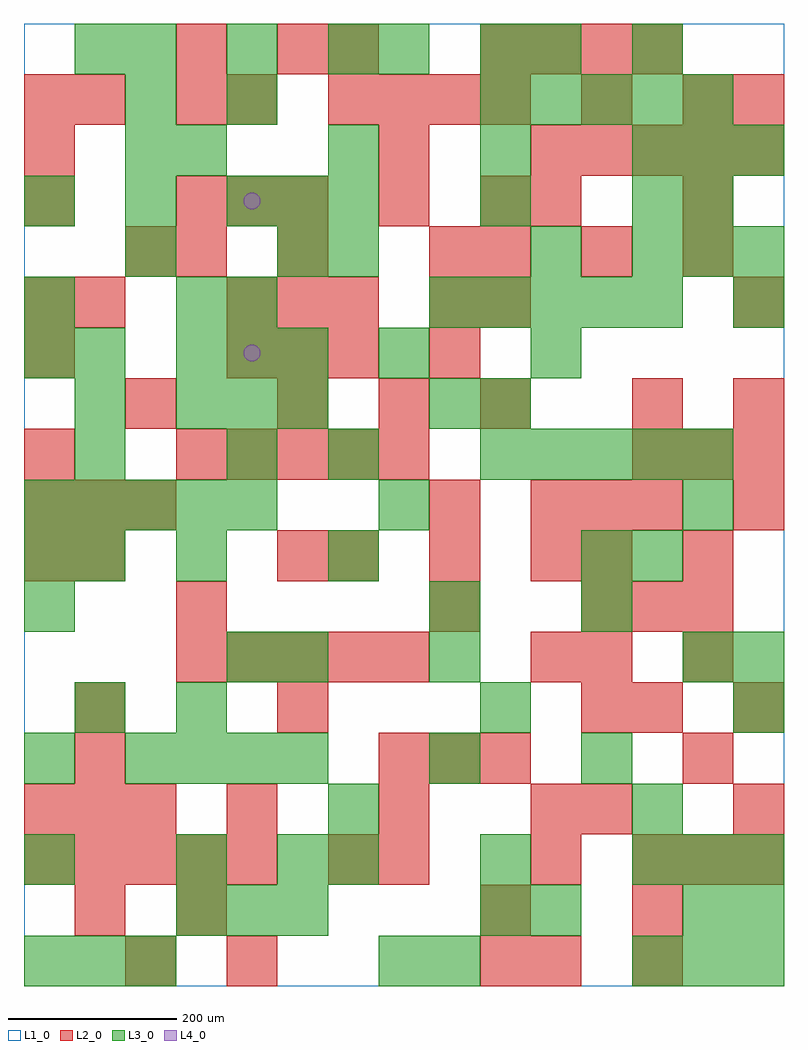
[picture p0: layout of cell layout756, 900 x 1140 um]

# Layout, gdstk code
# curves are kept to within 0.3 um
import gdstk
lib = gdstk.Library(unit=1e-6, precision=1e-09)
def R(c, l, rs):  # rectangles x0, y0, x1, y1
    for r in rs: c.add(gdstk.rectangle(r[:2], r[2:], *l))
def A(c, l, x, y, w, h, nx, ny, dx, dy):  # array of equal rectangles
    R(c, l, [(x+i*dx, y+j*dy, x+i*dx+w, y+j*dy+h) for i in range(nx) for j in range(ny)])
def P(c, l, *ps):  # polygons
    for p in ps: c.add(gdstk.Polygon(p, *l))
L1_0 = (1, 0)
L2_0 = (2, 0)
L3_0 = (3, 0)
L4_0 = (4, 0)

layout756 = lib.new_cell('layout756')
R(layout756, L1_0, [(0,0,900,1140)])
A(layout756, L2_0, 0, 120, 60, 60, 5, 1, 60, 0)
A(layout756, L2_0, 720, 120, 60, 60, 3, 2, 60, 480)
A(layout756, L2_0, 0, 180, 60, 60, 3, 2, 60, 360)
A(layout756, L2_0, 240, 180, 60, 60, 3, 1, 180, 0)
A(layout756, L2_0, 420, 240, 60, 60, 3, 1, 60, 0)
A(layout756, L2_0, 780, 240, 60, 60, 1, 3, 0, 120)
A(layout756, L2_0, 180, 360, 60, 60, 5, 2, 60, 240)
A(layout756, L2_0, 660, 420, 60, 60, 3, 1, 60, 0)
A(layout756, L2_0, 0, 480, 60, 60, 1, 3, 0, 120)
A(layout756, L2_0, 360, 480, 60, 60, 3, 1, 120, 0)
A(layout756, L2_0, 600, 540, 60, 60, 3, 1, 60, 0)
A(layout756, L2_0, 840, 540, 60, 60, 1, 3, 0, 120)
A(layout756, L2_0, 300, 660, 60, 60, 3, 1, 120, 0)
A(layout756, L2_0, 240, 720, 60, 60, 3, 2, 60, 60)
A(layout756, L2_0, 480, 720, 60, 60, 1, 3, 0, 60)
A(layout756, L2_0, 540, 840, 60, 60, 3, 1, 120, 0)
A(layout756, L2_0, 0, 900, 60, 60, 1, 3, 0, 60)
A(layout756, L2_0, 180, 900, 60, 60, 3, 1, 60, 0)
A(layout756, L2_0, 600, 960, 60, 60, 5, 1, 60, 0)
A(layout756, L2_0, 360, 1020, 60, 60, 4, 1, 60, 0)
A(layout756, L2_0, 540, 1080, 60, 60, 4, 1, 60, 0)
R(layout756, L2_0, [(120,0,180,60), (240,0,300,60), (540,0,600,60), (600,0,660,60), (720,0,780,60), (60,60,120,120), (180,60,240,120), (540,60,600,120), (720,60,780,120), (360,120,420,180), (420,120,480,180), (600,120,660,180), (660,180,720,240), (840,180,900,240), (60,240,120,300), (60,300,120,360), (300,300,360,360), (660,300,720,360), (720,300,780,360), (840,300,900,360), (600,360,660,420), (660,360,720,420), (180,420,240,480), (480,420,540,480), (60,480,120,540), (300,480,360,540), (660,480,720,540), (480,540,540,600), (120,660,180,720), (720,660,780,720), (0,780,60,840), (60,780,120,840), (540,780,600,840), (120,840,180,900), (180,840,240,900), (300,840,360,900), (420,900,480,960), (540,900,600,960), (600,900,660,960), (780,900,840,960), (420,960,480,1020), (60,1020,120,1080), (180,1020,240,1080), (240,1020,300,1080), (660,1020,720,1080), (780,1020,840,1080), (840,1020,900,1080), (180,1080,240,1140), (300,1080,360,1140), (360,1080,420,1140)])
A(layout756, L3_0, 0, 0, 60, 60, 3, 1, 60, 0)
A(layout756, L3_0, 720, 0, 60, 60, 3, 2, 60, 840)
A(layout756, L3_0, 180, 60, 60, 60, 3, 2, 60, 600)
A(layout756, L3_0, 180, 120, 60, 60, 1, 3, 0, 180)
A(layout756, L3_0, 360, 120, 60, 60, 3, 2, 180, 780)
A(layout756, L3_0, 120, 240, 60, 60, 4, 1, 60, 0)
A(layout756, L3_0, 0, 540, 60, 60, 5, 1, 60, 0)
A(layout756, L3_0, 60, 600, 60, 60, 1, 3, 0, 60)
A(layout756, L3_0, 540, 600, 60, 60, 5, 2, 60, 420)
A(layout756, L3_0, 180, 720, 60, 60, 3, 1, 60, 0)
A(layout756, L3_0, 480, 780, 60, 60, 5, 1, 60, 0)
A(layout756, L3_0, 0, 900, 60, 60, 3, 1, 120, 0)
A(layout756, L3_0, 180, 960, 60, 60, 4, 1, 180, 0)
A(layout756, L3_0, 120, 1080, 60, 60, 3, 1, 120, 0)
R(layout756, L3_0, [(420,0,480,60), (480,0,540,60), (540,60,600,120), (600,60,660,120), (780,60,840,120), (840,60,900,120), (0,120,60,180), (300,120,360,180), (780,120,840,180), (840,120,900,180), (360,180,420,240), (720,180,780,240), (0,240,60,300), (480,240,540,300), (660,240,720,300), (60,300,120,360), (540,300,600,360), (840,300,900,360), (240,360,300,420), (300,360,360,420), (480,360,540,420), (780,360,840,420), (840,360,900,420), (0,420,60,480), (480,420,540,480), (660,420,720,480), (0,480,60,540), (60,480,120,540), (360,480,420,540), (660,480,720,540), (720,480,780,540), (420,540,480,600), (780,540,840,600), (240,600,300,660), (360,600,420,660), (480,660,540,720), (540,660,600,720), (0,720,60,780), (420,720,480,780), (600,720,660,780), (0,780,60,840), (180,780,240,840), (240,780,300,840), (840,780,900,840), (120,840,180,900), (300,840,360,900), (360,840,420,900), (600,840,660,900), (300,900,360,960), (780,900,840,960), (120,960,180,1020), (780,960,840,1020), (840,960,900,1020), (120,1020,180,1080), (240,1020,300,1080), (60,1080,120,1140), (420,1080,480,1140), (540,1080,600,1140), (600,1080,660,1140), (720,1080,780,1140)])
P(layout756, L4_0, [(280,750),(279.239,753.827),(277.071,757.071),(273.827,759.239),(270,760),(266.173,759.239),(262.929,757.071),(260.761,753.827),(260,750),(260.761,746.173),(262.929,742.929),(266.173,740.761),(270,740),(273.827,740.761),(277.071,742.929),(279.239,746.173)],
  [(280,930),(279.239,933.827),(277.071,937.071),(273.827,939.239),(270,940),(266.173,939.239),(262.929,937.071),(260.761,933.827),(260,930),(260.761,926.173),(262.929,922.929),(266.173,920.761),(270,920),(273.827,920.761),(277.071,922.929),(279.239,926.173)])

lib.write_gds('layout756.gds')
